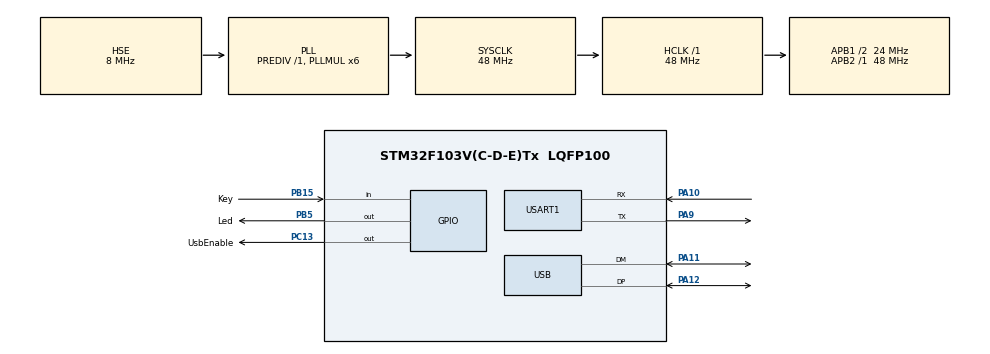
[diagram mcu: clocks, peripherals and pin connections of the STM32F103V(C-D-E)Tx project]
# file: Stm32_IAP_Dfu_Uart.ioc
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Mcu.Family=STM32F1
Mcu.Name=STM32F103V(C-D-E)Tx
Mcu.Package=LQFP100
NVIC.PriorityGroup=NVIC_PRIORITYGROUP_4
NVIC.USB_LP_CAN1_RX0_IRQn=true\:0\:0\:false\:false\:true\:false\:true
OSC_IN.Mode=HSE-External-Oscillator
OSC_IN.Signal=RCC_OSC_IN
OSC_OUT.Mode=HSE-External-Oscillator
OSC_OUT.Signal=RCC_OSC_OUT
PA10.Mode=Asynchronous
PA10.Signal=USART1_RX
PA11.Mode=Device
PA11.Signal=USB_DM
PA12.Mode=Device
PA12.Signal=USB_DP
PA9.Mode=Asynchronous
PA9.Signal=USART1_TX
PB15.GPIO_Label=Key
PB15.Signal=GPIO_Input
PB5.GPIO_Label=Led
PB5.Signal=GPIO_Output
PC13-TAMPER-RTC.GPIO_Label=UsbEnable
PC13-TAMPER-RTC.Signal=GPIO_Output
PC14-OSC32_IN.Mode=LSE-External-Oscillator
PC14-OSC32_IN.Signal=RCC_OSC32_IN
PC15-OSC32_OUT.Mode=LSE-External-Oscillator
PC15-OSC32_OUT.Signal=RCC_OSC32_OUT
ProjectManager.HeapSize=0x2000
ProjectManager.StackSize=0x4000
ProjectManager.TargetToolchain=MDK-ARM V5
RCC.AHBFreq_Value=48000000
RCC.APB1CLKDivider=RCC_HCLK_DIV2
RCC.APB1Freq_Value=24000000
RCC.APB1TimFreq_Value=48000000
RCC.APB2Freq_Value=48000000
RCC.APB2TimFreq_Value=48000000
RCC.HCLKFreq_Value=48000000
RCC.PLLMUL=RCC_PLL_MUL6
RCC.PLLSourceVirtual=RCC_PLLSOURCE_HSE
RCC.SYSCLKFreq_VALUE=48000000
RCC.SYSCLKSource=RCC_SYSCLKSOURCE_PLLCLK
RCC.USBFreq_Value=48000000
USART1.VirtualMode=VM_ASYNC
USB_DEVICE.CLASS_NAME_FS=DFU
USB_DEVICE.USBD_DFU_APP_DEFAULT_ADD=0x08005000
USB_DEVICE.USBD_DFU_MEDIA=@Internal Flash   /0x08000000/10*002Ka,246*002Kg
USB_DEVICE.VirtualMode=Dfu
USB_DEVICE.VirtualModeFS=Dfu_FS
VP_SYS_VS_ND.Mode=No_Debug
VP_USB_DEVICE_VS_USB_DEVICE_DFU_FS.Mode=DFU_FS
board=custom

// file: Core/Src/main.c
/* USER CODE BEGIN Header */
/**
  ******************************************************************************
  * @file           : main.c
  * @brief          : Main program body
  ******************************************************************************
  * This notice applies to any and all portions of this file
  * that are not between comment pairs USER CODE BEGIN and
  * USER CODE END. Other portions of this file, whether
  * inserted by the user or by software development tools
  * are owned by their respective copyright owners.
  *
  * Copyright (c) 2018 STMicroelectronics International N.V.
  * All rights reserved.
  *
  * Redistribution and use in source and binary forms, with or without
  * modification, are permitted, provided that the following conditions are met:
  *
  * 1. Redistribution of source code must retain the above copyright notice,
  *    this list of conditions and the following disclaimer.
  * 2. Redistributions in binary form must reproduce the above copyright notice,
  *    this list of conditions and the following disclaimer in the documentation
  *    and/or other materials provided with the distribution.
  * 3. Neither the name of STMicroelectronics nor the names of other
  *    contributors to this software may be used to endorse or promote products
  *    derived from this software without specific written permission.
  * 4. This software, including modifications and/or derivative works of this
  *    software, must execute solely and exclusively on microcontroller or
  *    microprocessor devices manufactured by or for STMicroelectronics.
  * 5. Redistribution and use of this software other than as permitted under
  *    this license is void and will automatically terminate your rights under
  *    this license.
  *
  * THIS SOFTWARE IS PROVIDED BY STMICROELECTRONICS AND CONTRIBUTORS "AS IS"
  * AND ANY EXPRESS, IMPLIED OR STATUTORY WARRANTIES, INCLUDING, BUT NOT
  * LIMITED TO, THE IMPLIED WARRANTIES OF MERCHANTABILITY, FITNESS FOR A
  * PARTICULAR PURPOSE AND NON-INFRINGEMENT OF THIRD PARTY INTELLECTUAL PROPERTY
  * RIGHTS ARE DISCLAIMED TO THE FULLEST EXTENT PERMITTED BY LAW. IN NO EVENT
  * SHALL STMICROELECTRONICS OR CONTRIBUTORS BE LIABLE FOR ANY DIRECT, INDIRECT,
  * INCIDENTAL, SPECIAL, EXEMPLARY, OR CONSEQUENTIAL DAMAGES (INCLUDING, BUT NOT
  * LIMITED TO, PROCUREMENT OF SUBSTITUTE GOODS OR SERVICES; LOSS OF USE, DATA,
  * OR PROFITS; OR BUSINESS INTERRUPTION) HOWEVER CAUSED AND ON ANY THEORY OF
  * LIABILITY, WHETHER IN CONTRACT, STRICT LIABILITY, OR TORT (INCLUDING
  * NEGLIGENCE OR OTHERWISE) ARISING IN ANY WAY OUT OF THE USE OF THIS SOFTWARE,
  * EVEN IF ADVISED OF THE POSSIBILITY OF SUCH DAMAGE.
  *
  ******************************************************************************
  */
/* USER CODE END Header */

#include "main.h"
#include "usart.h"
#include "usb_device.h"
#include "gpio.h"

/* USER CODE BEGIN Includes */
#include "usbd_dfu.h"
/* USER CODE END Includes */

void SystemClock_Config(void);

/* USER CODE BEGIN 0 */
static uint16_t GetCmdViaServer()
{
  uint8_t txBuf[2] = {0x24, 0x34};
	uint8_t rxBuf[2] = {0};

	while (HAL_UART_GetState(&huart1) != HAL_UART_STATE_READY) {}
	if (HAL_UART_Transmit(&huart1, txBuf, 2, 0xffff) != HAL_OK)
		return 1;
	while (HAL_UART_GetState(&huart1) != HAL_UART_STATE_READY) {}
	if (HAL_UART_Receive(&huart1, rxBuf, 2, 0xffff) != HAL_OK)
		return 1;

	if ((rxBuf[0] == 0x15) && (rxBuf[1] == 0x17))
		return 2;

	return 1;
}
/* USER CODE END 0 */

int main(void)
{
  /* USER CODE BEGIN 1 */
	pFunction JumpToApplication;
  uint32_t JumpAddress;
  /* USER CODE END 1 */

  /* MCU Configuration--------------------------------------------------------*/

  /* Reset of all peripherals, Initializes the Flash interface and the Systick. */
  HAL_Init();

  /* Configure the system clock */
  SystemClock_Config();

  /* Initialize all configured peripherals */
  MX_GPIO_Init();
  MX_USART1_UART_Init();

  if (GetCmdViaServer() == 2) {
    /* Test if user code is programmed starting from address 0x08007000 */
    if (((*(__IO uint32_t *) USBD_DFU_APP_DEFAULT_ADD) & 0x2FFE0000) ==
        0x20000000)
    {
      /* Jump to user application */
      JumpAddress = *(__IO uint32_t *) (USBD_DFU_APP_DEFAULT_ADD + 4);
      JumpToApplication = (pFunction) JumpAddress;

      /* Initialize user application's Stack Pointer */
      __set_MSP(*(__IO uint32_t *) USBD_DFU_APP_DEFAULT_ADD);
      JumpToApplication();
    }
  }

  HAL_GPIO_WritePin(UsbEnable_GPIO_Port, UsbEnable_Pin, GPIO_PIN_RESET);
  MX_USB_DEVICE_Init();

  /* Infinite loop */
  while (1)
  {

  }
}

void SystemClock_Config(void)
{
  RCC_OscInitTypeDef RCC_OscInitStruct = {0};
  RCC_ClkInitTypeDef RCC_ClkInitStruct = {0};
  RCC_PeriphCLKInitTypeDef PeriphClkInit = {0};

  /** Initializes the CPU, AHB and APB busses clocks
  */
  RCC_OscInitStruct.OscillatorType = RCC_OSCILLATORTYPE_HSE;
  RCC_OscInitStruct.HSEState = RCC_HSE_ON;
  RCC_OscInitStruct.HSEPredivValue = RCC_HSE_PREDIV_DIV1;
  RCC_OscInitStruct.HSIState = RCC_HSI_ON;
  RCC_OscInitStruct.PLL.PLLState = RCC_PLL_ON;
  RCC_OscInitStruct.PLL.PLLSource = RCC_PLLSOURCE_HSE;
  RCC_OscInitStruct.PLL.PLLMUL = RCC_PLL_MUL6;
  if (HAL_RCC_OscConfig(&RCC_OscInitStruct) != HAL_OK)
  {
    Error_Handler();
  }
  /** Initializes the CPU, AHB and APB busses clocks
  */
  RCC_ClkInitStruct.ClockType = RCC_CLOCKTYPE_HCLK|RCC_CLOCKTYPE_SYSCLK
                              |RCC_CLOCKTYPE_PCLK1|RCC_CLOCKTYPE_PCLK2;
  RCC_ClkInitStruct.SYSCLKSource = RCC_SYSCLKSOURCE_PLLCLK;
  RCC_ClkInitStruct.AHBCLKDivider = RCC_SYSCLK_DIV1;
  RCC_ClkInitStruct.APB1CLKDivider = RCC_HCLK_DIV2;
  RCC_ClkInitStruct.APB2CLKDivider = RCC_HCLK_DIV1;

  if (HAL_RCC_ClockConfig(&RCC_ClkInitStruct, FLASH_LATENCY_1) != HAL_OK)
  {
    Error_Handler();
  }
  PeriphClkInit.PeriphClockSelection = RCC_PERIPHCLK_USB;
  PeriphClkInit.UsbClockSelection = RCC_USBCLKSOURCE_PLL;
  if (HAL_RCCEx_PeriphCLKConfig(&PeriphClkInit) != HAL_OK)
  {
    Error_Handler();
  }
}

void Error_Handler(void)
{
}

/************************ (C) COPYRIGHT STMicroelectronics *****END OF FILE****/
